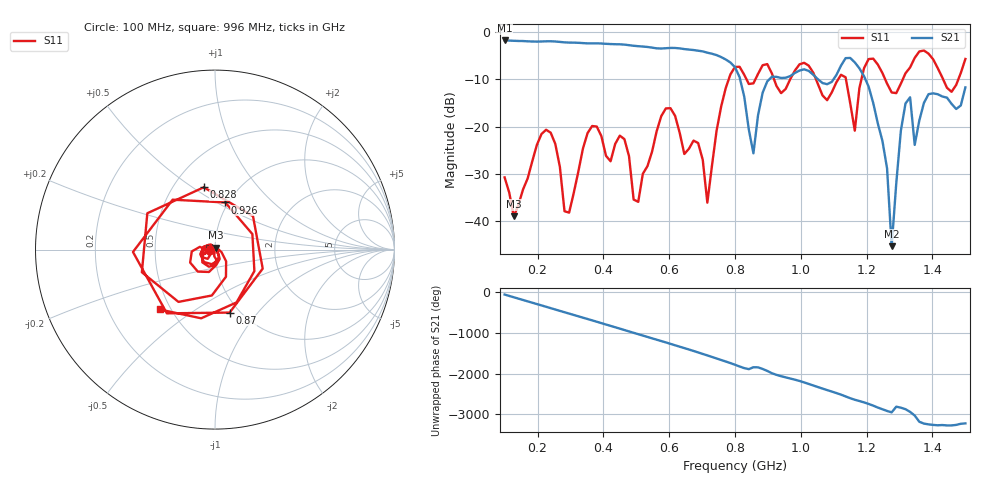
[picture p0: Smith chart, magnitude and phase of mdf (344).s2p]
! NanoVNA-App
! Date: 2025-09-25 15:41:06
! Start: 100MHz Stop: 1,5GHz Points: 101
! S-Parameter data: F S11 S21 S12 S22
# Hz S RI R 50
!  Frequency  S11_Real  S11_Imag  S21_Real  S21_Imag  S12_Real  S12_Imag  S22_Real  S22_Imag
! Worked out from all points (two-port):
!   101 points, 100 MHz to 1.5 GHz, reference 50 ohm
!   highest |S21| = -1.80 dB at 100 MHz (marker M1); lowest = -45.3 dB at 1.276 GHz (marker M2)
!   |S21| within 3 dB of the highest: start of sweep to 739.3 MHz
!   lowest |S11| = -39.0 dB at 128 MHz (marker M3), VSWR 1.02, Z = 50.3 + j1.07 ohm
!   |S11| at or under -10 dB: start of sweep to 781 MHz; 1.046 GHz to 1.114 GHz (67.78 MHz wide, 6.28 % of centre); 1.256 GHz to 1.31 GHz (53.71 MHz wide, 4.19 % of centre) (the widest 3 of 7)
!   S12 and S22 are empty: the file has one direction only
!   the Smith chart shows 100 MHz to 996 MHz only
!   S11 on the Smith chart (normalised r, x): 100 MHz: 0.94, -0.01; 828 MHz: 0.70, +0.56; 870 MHz: 0.90, -0.73; 926 MHz: 0.97, +0.55; 996 MHz: 0.43, -0.37
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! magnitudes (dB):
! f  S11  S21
! 100 MHz  -30.7  -1.8
! 128 MHz  -39.0  -1.9
! 212 MHz  -21.6  -2.0
! 282 MHz  -37.9  -2.2
! 338 MHz  -24.6  -2.4
! 464 MHz  -22.7  -2.7
! 506 MHz  -35.9  -3.0
! 576 MHz  -17.8  -3.5
! 716 MHz  -36.1  -4.4
! 800 MHz  -7.4  -7.5
! 828 MHz  -9.1  -13.7
! 856 MHz  -10.9  -25.7
! 870 MHz  -8.9  -17.6
! 926 MHz  -11.4  -9.5
! 996 MHz  -6.8  -8.2
! 1.038 GHz  -8.6  -9.1
! 1.164 GHz  -20.9  -6.4
! 1.192 GHz  -7.7  -9.4
! 1.262 GHz  -10.9  -28.8
! 1.276 GHz  -12.8  -45.3
! 1.318 GHz  -8.7  -15.1
! 1.5 GHz  -5.7  -11.7
